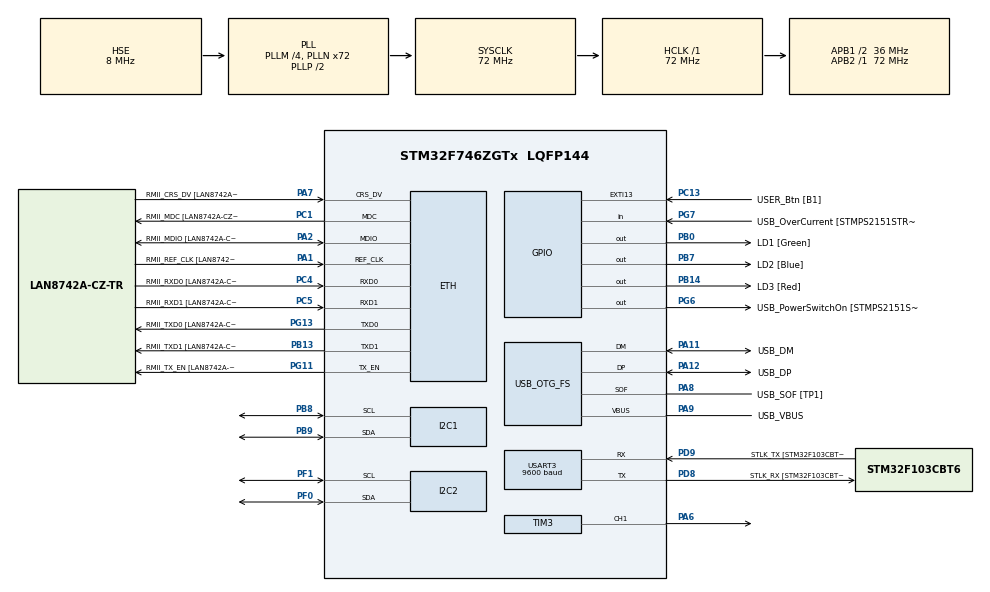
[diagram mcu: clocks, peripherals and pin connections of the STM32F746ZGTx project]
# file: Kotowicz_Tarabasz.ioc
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ETH.MediaInterface=ETH_MEDIA_INTERFACE_RMII
ETH.PHY_Name=LAN8742A_PHY_ADDRESS
ETH.PHY_Value=0
ETH.PhyAddress=0
I2C1.Timing=0x00808CD2
I2C2.Timing=0x00808CD2
Mcu.Family=STM32F7
Mcu.Name=STM32F746ZGTx
Mcu.Package=LQFP144
NVIC.I2C1_ER_IRQn=true\:0\:0\:false\:false\:true\:true\:true
NVIC.I2C1_EV_IRQn=true\:0\:0\:false\:false\:true\:true\:true
NVIC.I2C2_ER_IRQn=true\:0\:0\:false\:false\:true\:true\:true
NVIC.I2C2_EV_IRQn=true\:0\:0\:false\:false\:true\:true\:true
NVIC.PriorityGroup=NVIC_PRIORITYGROUP_4
NVIC.TIM3_IRQn=true\:0\:0\:false\:false\:true\:true\:true
NVIC.USART3_IRQn=true\:0\:0\:false\:false\:true\:true\:true
PA1.GPIO_Label=RMII_REF_CLK [LAN8742A-CZ-TR_REFCLK0]
PA1.Mode=RMII
PA1.Signal=ETH_REF_CLK
PA10.GPIO_Label=USB_ID
PA10.Signal=USB_OTG_FS_ID
PA11.GPIO_Label=USB_DM
PA11.Mode=Device_Only
PA11.Signal=USB_OTG_FS_DM
PA12.GPIO_Label=USB_DP
PA12.Mode=Device_Only
PA12.Signal=USB_OTG_FS_DP
PA13.GPIO_Label=TMS
PA13.Mode=Serial_Wire
PA13.Signal=SYS_JTMS-SWDIO
PA14.GPIO_Label=TCK
PA14.Mode=Serial_Wire
PA14.Signal=SYS_JTCK-SWCLK
PA2.GPIO_Label=RMII_MDIO [LAN8742A-CZ-TR_MDIO]
PA2.Mode=RMII
PA2.Signal=ETH_MDIO
PA6.Signal=S_TIM3_CH1
PA7.GPIO_Label=RMII_CRS_DV [LAN8742A-CZ-TR_CRS_DV]
PA7.Mode=RMII
PA7.Signal=ETH_CRS_DV
PA8.GPIO_Label=USB_SOF [TP1]
PA8.Mode=Activate_SOF_FS
PA8.Signal=USB_OTG_FS_SOF
PA9.GPIO_Label=USB_VBUS
PA9.Mode=Activate_VBUS
PA9.Signal=USB_OTG_FS_VBUS
PB0.GPIO_Label=LD1 [Green]
PB0.Signal=GPIO_Output
PB13.GPIO_Label=RMII_TXD1 [LAN8742A-CZ-TR_TXD1]
PB13.Mode=RMII
PB13.Signal=ETH_TXD1
PB14.GPIO_Label=LD3 [Red]
PB14.Signal=GPIO_Output
PB3.GPIO_Label=SW0
PB3.Signal=SYS_JTDO-SWO
PB7.GPIO_Label=LD2 [Blue]
PB7.Signal=GPIO_Output
PB8.Mode=I2C
PB8.Signal=I2C1_SCL
PB9.Mode=I2C
PB9.Signal=I2C1_SDA
PC1.GPIO_Label=RMII_MDC [LAN8742A-CZ-TR_MDC]
PC1.Mode=RMII
PC1.Signal=ETH_MDC
PC13.GPIO_Label=USER_Btn [B1]
PC13.Signal=GPXTI13
PC14/OSC32_IN.Mode=LSE-External-Oscillator
PC14/OSC32_IN.Signal=RCC_OSC32_IN
PC15/OSC32_OUT.Mode=LSE-External-Oscillator
PC15/OSC32_OUT.Signal=RCC_OSC32_OUT
PC4.GPIO_Label=RMII_RXD0 [LAN8742A-CZ-TR_RXD0]
PC4.Mode=RMII
PC4.Signal=ETH_RXD0
PC5.GPIO_Label=RMII_RXD1 [LAN8742A-CZ-TR_RXD1]
PC5.Mode=RMII
PC5.Signal=ETH_RXD1
PD8.GPIO_Label=STLK_RX [STM32F103CBT6_PA3]
PD8.Mode=Asynchronous
PD8.Signal=USART3_TX
PD9.GPIO_Label=STLK_TX [STM32F103CBT6_PA2]
PD9.Mode=Asynchronous
PD9.Signal=USART3_RX
PF0.Mode=I2C
PF0.Signal=I2C2_SDA
PF1.Mode=I2C
PF1.Signal=I2C2_SCL
PG11.GPIO_Label=RMII_TX_EN [LAN8742A-CZ-TR_TXEN]
PG11.Mode=RMII
PG11.Signal=ETH_TX_EN
PG13.GPIO_Label=RMII_TXD0 [LAN8742A-CZ-TR_TXD0]
PG13.Mode=RMII
PG13.Signal=ETH_TXD0
PG6.GPIO_Label=USB_PowerSwitchOn [STMPS2151STR_EN]
PG6.Signal=GPIO_Output
PG7.GPIO_Label=USB_OverCurrent [STMPS2151STR_FAULT]
PG7.Signal=GPIO_Input
PH0/OSC_IN.GPIO_Label=MCO [STM32F103CBT6_PA8]
PH0/OSC_IN.Mode=HSE-External-Clock-Source
PH0/OSC_IN.Signal=RCC_OSC_IN
PH1/OSC_OUT.Mode=HSE-External-Clock-Source
PH1/OSC_OUT.Signal=RCC_OSC_OUT
ProjectManager.HeapSize=0x200
ProjectManager.StackSize=0x400
ProjectManager.TargetToolchain=STM32CubeIDE
RCC.48MHZClocksFreq_Value=24000000
RCC.AHBFreq_Value=72000000
RCC.APB1CLKDivider=RCC_HCLK_DIV2
RCC.APB1Freq_Value=36000000
RCC.APB1TimFreq_Value=72000000
RCC.APB2Freq_Value=72000000
RCC.APB2TimFreq_Value=72000000
RCC.CortexFreq_Value=72000000
RCC.HCLKFreq_Value=72000000
RCC.HSE_VALUE=8000000
RCC.HSI_VALUE=16000000
RCC.PLLM=4
RCC.PLLMUL=RCC_PLL_MUL9
RCC.PLLN=72
RCC.PLLQ=3
RCC.PRESCALERUSB=RCC_USBCLKSOURCE_PLL_DIV1_5
RCC.SYSCLKFreq_VALUE=72000000
RCC.SYSCLKSource=RCC_SYSCLKSOURCE_PLLCLK
RCC.SYSCLKSourceVirtual=RCC_SYSCLKSOURCE_PLLCLK
RCC.USBFreq_Value=48000000
RCC.VCOOutputFreq_Value=144000000
SH.S_TIM3_CH1.0=TIM3_CH1,PWM Generation1 CH1
TIM3.Channel-PWM\ Generation1\ CH1=TIM_CHANNEL_1
TIM3.Period=9
TIM3.Prescaler=71
TIM3.Pulse-PWM\ Generation1\ CH1=500
USART3.BaudRate=9600
USART3.VirtualMode-Asynchronous=VM_ASYNC
USB_OTG_FS.VirtualMode=Device_Only
board=NUCLEO-F746ZG

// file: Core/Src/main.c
/* USER CODE BEGIN Header */
/**
  ******************************************************************************
  * @file           : main.c
  * @brief          : Main program body
  ******************************************************************************
  * @attention
  *
  * <h2><center>&copy; Copyright (c) 2020 STMicroelectronics.
  * All rights reserved.</center></h2>
  *
  * This software component is licensed by ST under BSD 3-Clause license,
  * the "License"; You may not use this file except in compliance with the
  * License. You may obtain a copy of the License at:
  *                        opensource.org/licenses/BSD-3-Clause
  *
  ******************************************************************************
  */
/* USER CODE END Header */

#include "main.h"
#include "eth.h"
#include "i2c.h"
#include "tim.h"
#include "usart.h"
#include "usb_otg.h"
#include "gpio.h"

/* USER CODE BEGIN Includes */
#include "bh1750.h"
#include "stdio.h"
#include "stdlib.h"
#include "String.h"
#include "arm_math.h"
#include "i2c-lcd.h"
#include "math.h"
/* USER CODE END Includes */

/* USER CODE BEGIN PD */
/* define PID parameters */
// Ku = 30 +  ; 7 15 0.1 ; 24 0.1 0 ; 32 6 0.2-2 ; 32 2 0.1
// 80 lux -> Ku = 35: 21
// best pi 18 16 lo light
//int Ku = 28; kp 12.6 ki 16.8
// pid ku 28 -> 16.8 37.3 1.89
// 2.5 1.125 1.5 0
// 2.5
#define PID_PARAM_KP        0
#define PID_PARAM_KI		0.8
#define PID_PARAM_KD        0

/* USER CODE END PD */

/* USER CODE BEGIN PV */
/* Initialize global variables */
arm_pid_instance_f32 PID;  						// PID instance

/* USER CODE END PV */

void SystemClock_Config(void);
/* USER CODE BEGIN PFP */

/**
  * @brief  Send_Output displays data on LCD.
  * @param  sensor_value is current value read by the sensor.
  * @param  requested_value is reference value set by the user.
  * @retval None
  */
void Send_Output(float sensor_value, float requested_value)
{
	char sensor_value_local[16];
	char requested_value_local[16];

	sprintf(sensor_value_local, "%g", sensor_value);		// write values into arrays in a format
	sprintf(requested_value_local, "%g", requested_value);	// which gives the best precision in minimum place

	lcd_clear ();
	lcd_send_cmd(0x80);
	lcd_send_string("VAL:");								// write current value of sensor to LCD
	lcd_send_string((uint8_t*)sensor_value_local);
	lcd_send_string(" lux");

	lcd_put_cur(1, 0);
	lcd_send_string("REQ:");
	lcd_send_string((uint8_t*)requested_value_local);		// wirte requested value of sensor to LCD
	lcd_send_string(" lux");
	HAL_Delay(200);
}
/**
  * @brief Sensor_Range sets the maximum value of a sensor as reference for PID.
  * It lights a diode with it's maximum power to measure the max range.
  * @retval max_value (Maximum value of the sensor in lux)
  */
float Sensor_Range()
{
	float max_value=0;
	TIM3->CCR1=100000;				// Activate the diode with the max value
	HAL_Delay(500);
	BH1750_ReadLight(&max_value);	// Read the converted value from the sensor and calculate the result
	TIM3->CCR1=0;					// Turn off the diode
	HAL_Delay(300);
	return max_value;
}
/**
  * @brief  Calculate_PWM calculates PWM Duty. Based on difference between
  * actual and requested value and PID controller.
  * @param  sensor_value is current value read by the sensor.
  * @param  requested_value is reference value set by the user.
  * @retval None
  */
void Calculate_PWM(float sensor_value, float requested_value, float sensor_max)
{
	float light_delta = 0;    								// Difference between requested value and actual value of the sensor
	int PWM_duty = 10;      							// PWM duty initial value
	float32_t PID_duty = 0; 	 						// PID duty initial value
	light_delta = requested_value - sensor_value;		// Difference between actual and requested value (lux)
	PID_duty = arm_pid_f32(&PID, light_delta);			// calculate PID duty
	PWM_duty += (int)(PID_duty*sensor_max / 100000.0);	// calculate PWM value

	/* check if PWM duty is in range */
	if(PWM_duty > 100000){
		PWM_duty = 100000;
	}
	else if(PWM_duty < 0){
		PWM_duty = 0;
	}
	/* set calculated PWM value */
	TIM3->CCR1 = PWM_duty;
}

/* USER CODE END PFP */

int main(void)
{
  /* USER CODE BEGIN 1 */
	char terminal_setpoint[40];  		// UART receiving buffer
	uint8_t terminal_setpoint_size; 	// size of the UART message
	char buffer[40]; 					// UART sending buffer
	float sensor_value; 				// sensor actual value
	float requested_value=0; 			// Sensor requested value
	float sensor_max; 					// Sensor maximum value
	/* Rewrite defined PID parameters to PID instance */
	PID.Kp = PID_PARAM_KP;
	PID.Ki = PID_PARAM_KI;
	PID.Kd = PID_PARAM_KD;

  /* USER CODE END 1 */

  /* MCU Configuration--------------------------------------------------------*/

  /* Reset of all peripherals, Initializes the Flash interface and the Systick. */
  HAL_Init();

  /* Configure the system clock */
  SystemClock_Config();

  /* Initialize all configured peripherals */
  MX_GPIO_Init();
  MX_ETH_Init();
  MX_USART3_UART_Init();
  MX_USB_OTG_FS_PCD_Init();
  MX_I2C1_Init();
  MX_I2C2_Init();
  MX_TIM3_Init();
  /* USER CODE BEGIN 2 */
  /* Start PWM */
  	  HAL_TIM_PWM_Start(&htim3, TIM_CHANNEL_1);
  /* Initialize BH1750 sensor */
  	  BH1750_Init(&hi2c2);
  /* Sets resolution mode to continuous high */
  	  BH1750_SetMode(CONTINUOUS_HIGH_RES_MODE_2);
  /* Initialize LCD */
  	  lcd_init ();
  /* Initialize PID */
  	  arm_pid_init_f32(&PID, 1);
  /* Adjusts maximum range of sensor based on current light level in the room*/
  	  sensor_max = Sensor_Range();
  /* USER CODE END 2 */

  /* Infinite loop */
  /* USER CODE BEGIN WHILE */
  while (1)
  {
	  	  BH1750_ReadLight(&sensor_value); // Reads the converted value and calculates the result.

	  	  /* calculate PWM duty value */
	  	  Calculate_PWM(sensor_value, requested_value, sensor_max);

	  	  /* send current and requested values to LCD */
	  	  Send_Output(sensor_value, requested_value);

	  	  /* transmit actual sensor value over UART */
	  	  terminal_setpoint_size=sprintf (buffer, "%3.2f\n\r", sensor_value);
	  	  HAL_UART_Transmit_IT(&huart3,(uint8_t*) buffer, terminal_setpoint_size);

	  	  /* receive requested sensor value from UART */
	  	  HAL_UART_Receive_IT( &huart3, (uint8_t*)&terminal_setpoint, terminal_setpoint_size);
	  	  requested_value= atof(terminal_setpoint);

	  	  HAL_Delay(200);
  /* USER CODE END WHILE */

  }
}

void SystemClock_Config(void)
{
  RCC_OscInitTypeDef RCC_OscInitStruct = {0};
  RCC_ClkInitTypeDef RCC_ClkInitStruct = {0};
  RCC_PeriphCLKInitTypeDef PeriphClkInitStruct = {0};

  /** Configure LSE Drive Capability
  */
  HAL_PWR_EnableBkUpAccess();
  /** Configure the main internal regulator output voltage
  */
  __HAL_RCC_PWR_CLK_ENABLE();
  __HAL_PWR_VOLTAGESCALING_CONFIG(PWR_REGULATOR_VOLTAGE_SCALE3);
  /** Initializes the CPU, AHB and APB busses clocks
  */
  RCC_OscInitStruct.OscillatorType = RCC_OSCILLATORTYPE_HSE;
  RCC_OscInitStruct.HSEState = RCC_HSE_BYPASS;
  RCC_OscInitStruct.PLL.PLLState = RCC_PLL_ON;
  RCC_OscInitStruct.PLL.PLLSource = RCC_PLLSOURCE_HSE;
  RCC_OscInitStruct.PLL.PLLM = 4;
  RCC_OscInitStruct.PLL.PLLN = 72;
  RCC_OscInitStruct.PLL.PLLP = RCC_PLLP_DIV2;
  RCC_OscInitStruct.PLL.PLLQ = 3;
  if (HAL_RCC_OscConfig(&RCC_OscInitStruct) != HAL_OK)
  {
    Error_Handler();
  }
  /** Initializes the CPU, AHB and APB busses clocks
  */
  RCC_ClkInitStruct.ClockType = RCC_CLOCKTYPE_HCLK|RCC_CLOCKTYPE_SYSCLK
                              |RCC_CLOCKTYPE_PCLK1|RCC_CLOCKTYPE_PCLK2;
  RCC_ClkInitStruct.SYSCLKSource = RCC_SYSCLKSOURCE_PLLCLK;
  RCC_ClkInitStruct.AHBCLKDivider = RCC_SYSCLK_DIV1;
  RCC_ClkInitStruct.APB1CLKDivider = RCC_HCLK_DIV2;
  RCC_ClkInitStruct.APB2CLKDivider = RCC_HCLK_DIV1;

  if (HAL_RCC_ClockConfig(&RCC_ClkInitStruct, FLASH_LATENCY_2) != HAL_OK)
  {
    Error_Handler();
  }
  PeriphClkInitStruct.PeriphClockSelection = RCC_PERIPHCLK_USART3|RCC_PERIPHCLK_I2C1
                              |RCC_PERIPHCLK_I2C2|RCC_PERIPHCLK_CLK48;
  PeriphClkInitStruct.Usart3ClockSelection = RCC_USART3CLKSOURCE_PCLK1;
  PeriphClkInitStruct.I2c1ClockSelection = RCC_I2C1CLKSOURCE_PCLK1;
  PeriphClkInitStruct.I2c2ClockSelection = RCC_I2C2CLKSOURCE_PCLK1;
  PeriphClkInitStruct.Clk48ClockSelection = RCC_CLK48SOURCE_PLL;
  if (HAL_RCCEx_PeriphCLKConfig(&PeriphClkInitStruct) != HAL_OK)
  {
    Error_Handler();
  }
}

void Error_Handler(void)
{
}

/************************ (C) COPYRIGHT STMicroelectronics *****END OF FILE****/
